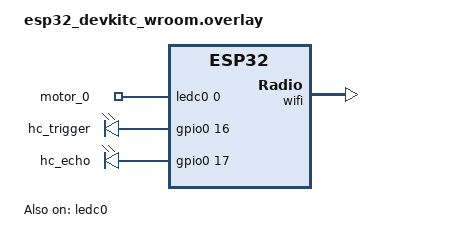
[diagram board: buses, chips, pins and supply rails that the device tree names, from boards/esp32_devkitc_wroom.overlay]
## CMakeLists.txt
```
cmake_minimum_required(VERSION 3.20.0)

find_package(Zephyr REQUIRED HINTS $ENV{ZEPHYR_BASE})
project(Wifi_Radar)

FILE(GLOB app_sources src/*.c) # Make a list of every file in src ending with .c and store it in app_sources
target_sources(app PRIVATE ${app_sources}) # Ask the coomplier to build evryfile in the list app_sources
```

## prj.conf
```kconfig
# System & Memory 
CONFIG_MAIN_STACK_SIZE=4096
CONFIG_HEAP_MEM_POOL_SIZE=51200
CONFIG_ESP_WIFI_HEAP_SYSTEM=y
CONFIG_NEWLIB_LIBC=y
CONFIG_FPU=y
CONFIG_CBPRINTF_FP_SUPPORT=y

# Enable the network configuration library
CONFIG_NET_CONFIG_SETTINGS=y

# Hardware Drivers
CONFIG_GPIO=y
CONFIG_PWM=y
CONFIG_PINCTRL=y
CONFIG_PRINTK=y
CONFIG_ESP32_USE_UNSUPPORTED_REVISION=y

# Networking Base 
# Enables zephyr networking stack
CONFIG_NETWORKING=y
# Enables layer 2 support
CONFIG_NET_L2_ETHERNET=y
# Enables IPv4 protocol suite 
CONFIG_NET_IPV4=y
# TCP Protocol for web server communication
CONFIG_NET_TCP=y
# socket API
CONFIG_NET_SOCKETS=y
# Network stack logging
CONFIG_NET_LOG=y
# Reduces log footprint to save memory on esp32
CONFIG_LOG_MODE_MINIMAL=y

# Max number of network packets allowed in TX queue
CONFIG_NET_PKT_TX_COUNT=10
# Max number of buffers for outgoing packets 
CONFIG_NET_BUF_TX_COUNT=20
# Size of network buffer --> bytes
CONFIG_NET_BUF_DATA_SIZE=128
# Max number of simultaneous network connections 
CONFIG_NET_MAX_CONTEXTS=10   


# WiFi & DHCP
CONFIG_WIFI=y
CONFIG_WIFI_ESP32=y
CONFIG_NET_L2_WIFI_MGMT=y
CONFIG_NET_DHCPV4=y
CONFIG_ESP32_WIFI_STA_AUTO_DHCPV4=y
CONFIG_NET_CONFIG_INIT_TIMEOUT=30
```

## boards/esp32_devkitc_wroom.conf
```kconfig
# Required to get IP address from DHCP
CONFIG_ESP32_WIFI_STA_AUTO_DHCPV4=y

# Use system heap (instead of runtime) for WiFi
CONFIG_ESP_WIFI_HEAP_SYSTEM=y
CONFIG_HEAP_MEM_POOL_SIZE=51200
CONFIG_WIFI_ESP32=y
```

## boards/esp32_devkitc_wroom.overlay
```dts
#include <zephyr/dt-bindings/pwm/pwm.h>

/ {
    aliases{
        hc-trig=&hc_trigger;
        hc-echo=&hc_echo;
        motor-0=&motor_0;
    };

    my-pwm-motors {
        compatible = "pwm-leds"; // Use a standard compatible string
        motor_0: pwm_motor_0 {
            pwms = <&ledc0 0 PWM_MSEC(20) PWM_POLARITY_NORMAL>;
        };
    };

    leds{
        compatible = "gpio-leds";
        hc_trigger: d16 {
            gpios = <&gpio0 16 GPIO_ACTIVE_HIGH>;
        };
        hc_echo: d17{
            gpios = <&gpio0 17 GPIO_ACTIVE_HIGH>;
        };
    };
};

// Handles all the PWM tasks. Most flexible hardware timer on the ESP32; Primary ESP32 PWM peripheral
// LEDC takes care of generating raw eelctrical pulses
&ledc0 {
    pinctrl-0 = <&motorctrl_0>;
	pinctrl-names = "default";
    status = "okay";
};


&pinctrl {
        motorctrl_0: motor-0 {
	        group1 {
		        pinmux = <LEDC_CH0_GPIO13>; // Routes PWM channel 0 to pin 13
			output-enable; // Configures pin 13 as output explicitly
		};
	};
};


&wifi {
	status = "okay";
};
```

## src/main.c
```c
#include <stdio.h>
#include <string.h>
#include <zephyr/kernel.h>
#include <zephyr/net/socket.h>
#include <zephyr/drivers/gpio.h>
#include <zephyr/drivers/pwm.h>
#include <zephyr/sys/time_units.h>

// Custom libraries
#include "wifi.h"

// WiFi settings
#define WIFI_SSID ""      // Enter the wifi username
#define WIFI_PSK ""   // Enter the wifi password

#define MAX_TICKS 10000 // Threshold to move on from waiting for the reply ping of the ultrasonic sensor

static const int32_t wait_time_ms = 10; // Sleep settings 

uint32_t counter=0;     // Counter for the start ping
uint32_t counter2=0;    // Counter for the end ping
uint32_t start_time = 0;    // Timer start time    
uint32_t stop_time = 0;     // Timer stop time
uint32_t duration = 0;      // Total duration from sending the singal to getting it back
uint64_t duration_us = 0;   // Duration in micro seconds
uint32_t pulse_ns = 0;      // Duty Cycle Pulse
uint32_t distance_cm = 0;   // Total distance in cm
int angle = 0;

// Get devicetree configurations 
static const struct pwm_dt_spec servo = PWM_DT_SPEC_GET(DT_ALIAS(motor_0));
static const struct gpio_dt_spec trig = GPIO_DT_SPEC_GET(DT_ALIAS(hc_trig),gpios);
static const struct gpio_dt_spec echo = GPIO_DT_SPEC_GET(DT_ALIAS(hc_echo),gpios);

// Create a function for the clockwise rotation of the servo motor by passing the client socket
int radar_clockwise(int client_sock){

    for(int angle = 0; angle<=180; angle+=5)
        {
            char buf[32];

            // 0.5ms pulse represents the 0 degree position
            // 2.5ms pulse represents the 180 degree position
            // Since the difference is 2ms, divide it by 180 to get the steps per degree
            pulse_ns = 500000 + (angle * 2000000 / 180);

            // Set the pulse in the pwm
            pwm_set_pulse_dt(&servo, pulse_ns);
            k_msleep(50);

            // Fire the trigger pulse
            gpio_pin_set_dt(&trig, 1);
            k_busy_wait(10);
            gpio_pin_set_dt(&trig, 0);

            // Check for the echo pin to go high
            counter = 0;
            while(gpio_pin_get_dt(&echo) == 0){
                counter++;
                if(counter>MAX_TICKS) // Condition to break the detection
                    break;
            }
            start_time = k_cycle_get_32();  // Record the cycle time in ticks once the echo goes high

            // Check for the echo pin to go low
            counter2 = 0;
            while(gpio_pin_get_dt(&echo) == 1){
                counter2++;
                if(counter2>MAX_TICKS)
                    break;
            }
            stop_time = k_cycle_get_32();   // Record the cycle time in ticks once the echo goes low
            
            // If the counter does not max out calculate the distance
            if(counter < MAX_TICKS && counter2 < MAX_TICKS)
            {
                duration = stop_time - start_time;  // Gives the duration of the ticks from the time of pulse transmission and reception
                duration_us = (uint64_t)duration * 1000000 / CONFIG_SYS_CLOCK_HW_CYCLES_PER_SEC;    // Converting ticks to microseconds -> ticks *1000000 / clock frequency
                // Sound travels at 343 m/s and in microseconds 0.0343 cm/us so 34/(2*1000) where 2 is because the distance of the object is just half of the total to and fro distance travelled
                distance_cm = (duration_us * 34) / 2000;
                printk("Angle: %d, Distance: %u cm\n", angle, distance_cm);
                snprintf(buf, sizeof(buf), "<script>d(%d,%u);</script>\n", angle, distance_cm); // Add the sensor readings to the buffer
                int ret = zsock_send(client_sock, buf, strlen(buf), 0); // Send it to the client socket
                if (ret < 0) {
                    printk("Client disconnected during sweep.\n");
                    return -1; // Critical: breaks the infinite loop in main
                }
            }
            else
                printk("No object detected");
        }
        k_msleep(wait_time_ms);
        return 0; 
}

// Create a function for the clockwise rotation of the servo motor by passing the client socket
int radar_aclockwise(int client_sock){

    for(int angle = 180; angle>=0; angle-=5)

        {
            char buf[32];
            pulse_ns = 500000 + (angle * 2000000 / 180);

            pwm_set_pulse_dt(&servo, pulse_ns);
            k_msleep(50);
            
            gpio_pin_set_dt(&trig, 1);
            k_busy_wait(10);
            gpio_pin_set_dt(&trig, 0);

            counter = 0;
            while(gpio_pin_get_dt(&echo) == 0){
                counter++;
                if(counter>MAX_TICKS)
                    break;
            }
            start_time = k_cycle_get_32();  

            counter2 = 0;
            while(gpio_pin_get_dt(&echo) == 1){
                counter2++;
                if(counter2>MAX_TICKS)
                    break;
            }
            stop_time = k_cycle_get_32();
            
            if(counter < MAX_TICKS && counter2 < MAX_TICKS)
            {
                duration = stop_time - start_time;
                duration_us = (uint64_t)duration * 1000000 / CONFIG_SYS_CLOCK_HW_CYCLES_PER_SEC;
                distance_cm = (duration_us * 34) / 2000;
                printk("Angle: %d, Distance: %u cm\n", angle, distance_cm);
                snprintf(buf, sizeof(buf), "<script>d(%d,%u);</script>\n", angle, distance_cm);
                int ret = zsock_send(client_sock, buf, strlen(buf), 0);
                if (ret < 0) {
                    printk("Client disconnected during sweep.\n");
                    return -1; // Critical: breaks the infinite loop in main
                }
            }
            else
                printk("No object detected");
        }         
        k_msleep(wait_time_ms);    
        return 0;
}



int main(void)
{
    struct sockaddr_in serv_addr;  // Defines the IPv4 internet address structure for the server to listen on
    
    struct sockaddr_in client_addr; // Used to store the IPv4 address information for a network connection, here the device visiting the website

    socklen_t client_addr_len = sizeof(client_addr);

    int sock;
    int ret;

    char *header = "HTTP/1.1 200 OK\r\nContent-Type: text/html\r\nConnection: close\r\n\r\n";
    
    // Check if the trigger is ready
    if(!gpio_is_ready_dt(&trig))
        return 0;
    // Check if the echo is ready
    if(!gpio_is_ready_dt(&echo))
        return 0;
    // Check if the servo is ready
    if(!pwm_is_ready_dt(&servo))
        return 0;

    // Configure the trigger to output
    ret = gpio_pin_configure_dt(&trig, GPIO_OUTPUT);
    if(ret<0)
        return 0;

    // Configure the echo to output
    ret = gpio_pin_configure_dt(&echo, GPIO_INPUT);
    if(ret<0)
        return 0;    

    // Initialize WiFi
    wifi_init();

    // Connect to the WiFi network (blocking)
    ret = wifi_connect(WIFI_SSID, WIFI_PSK);
    if (ret < 0) {
        printk("Error (%d): WiFi connection failed\r\n", ret);
        return 0;
    }

    // Wait to receive an IP address (blocking)
    wifi_wait_for_ip_addr();
    
    
    // server definition
    memset(&serv_addr, 0, sizeof(serv_addr));   // Clear memory to prevent garbage values
    serv_addr.sin_family = AF_INET;              // IPv4
    serv_addr.sin_port = htons(80);        // htons -> converts the port number from host byte order to network byte order little endian to big endian---> asks to listen in port 80
    serv_addr.sin_addr.s_addr = INADDR_ANY;    // Accept connection on any local network interface

    // Create a new socket
    sock = zsock_socket(AF_INET, SOCK_STREAM, 0);
    if (sock < 0) {
        printk("Error (%d): Could not create socket\r\n", errno);
        return 0;
    }

    // Attaches the server socket to the specified address
    ret = zsock_bind(sock, (struct sockaddr *)&serv_addr, sizeof(serv_addr));
    if(ret < 0){
        printk("Error (%d): Could not bind the socket\r\n", errno);
        return 0;
    }

    ret = zsock_listen(sock, 1);    // Puts the socket in listening mode with a queue size of 1. waits for the incoming message
    if (ret < 0) {
        printk("Error (%d): Could not listen to the socket\r\n", errno);
        return 0;
    }
    
    // Set the trigger to 0 initially
    gpio_pin_set_dt(&trig, 0);

    while (1) {

        // Writes the phone/device IP to the struct client_sock and creates client ids. each client id is tied to a client addr
        int client_sock = zsock_accept(sock, (struct sockaddr *) &client_addr, &client_addr_len);
        if (client_sock < 0) {
            continue;
        }
        
        char rx_buf[512]; 
        zsock_recv(client_sock, rx_buf, sizeof(rx_buf), 0); // Consume the browser's GET request
        printk("Browser connected! Sending radar...\n");
        // Sends the header to the specified id and address. multiple if there exists multiple IPs
        ret = zsock_send(client_sock, header, strlen(header), 0);
        if (ret < 0) {
            printk("Error (%d): Could not send request\r\n", errno);
            continue;
        }
        
        // HTML code for a green radar space simulation
        char *html_top = "<html><head><meta name='viewport' content='width=device-width,initial-scale=1'>"
                 "<style>body{background:#000;color:#0f0;margin:0;display:flex;flex-direction:column;justify-content:center;align-items:center;height:100vh;overflow:hidden;font-family:monospace}"
                 "h1{margin:0;letter-spacing:2px;font-size:1.5rem}#dist{font-size:3rem;margin:10px 0;text-shadow:0 0 10px #0f0}</style></head>"
                 "<body>"
                 "<h1>ESP32 ULTRASONIC SENSOR</h1>"
                 "<div id='dist'>0 CM</div>"
                 "<canvas id='c'></canvas>"
                 "<script>"
                 "const v=document.getElementById('c'),x=v.getContext('2d'),out=document.getElementById('dist');"
                 "v.width=600;v.height=400;x.translate(300,380);" // Adjusted height for text space
                 "function d(a,r){"
                 "out.innerText=r+' CM';" // Update the text readout
                 "x.fillStyle='rgba(0,10,0,0.02)';x.fillRect(-300,-380,600,400);" // Fade effect
                 "x.strokeStyle='#030';x.beginPath();x.arc(0,0,100,Math.PI,0);x.arc(0,0,200,Math.PI,0);x.arc(0,0,300,Math.PI,0);x.stroke();" // Rings
                 "const rad=(a-180)*Math.PI/180,px=Math.cos(rad)*r*10,py=Math.sin(rad)*r*10;" // Scaled r*10 for 400px height
                 "x.strokeStyle='#0f0';x.lineWidth=2;x.beginPath();x.moveTo(0,0);x.lineTo(px,py);x.stroke();"
                 "x.fillStyle='#fff';x.fillRect(px-2,py-2,4,4);}</script>";
        zsock_send(client_sock, html_top, strlen(html_top), 0);
        
        while (1) {
        if (radar_clockwise(client_sock) < 0) break;
        if (radar_aclockwise(client_sock) < 0) break;
    }
        char *html_bottom = "</body></html>";
        zsock_send(client_sock, html_bottom, strlen(html_bottom), 0);
        zsock_close(client_sock);       // Clsoe the socket
        
    }
}
```

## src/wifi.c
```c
#include <string.h>
#include <zephyr/kernel.h>
#include <zephyr/net/wifi_mgmt.h>

// Event callbacks
static struct net_mgmt_event_callback wifi_cb;
static struct net_mgmt_event_callback ipv4_cb;

// Semaphores
static K_SEM_DEFINE(sem_wifi, 0, 1);
static K_SEM_DEFINE(sem_ipv4, 0, 1);

// Called when the WiFi is connected
static void on_wifi_connection_event(struct net_mgmt_event_callback *cb,
                                     uint32_t mgmt_event,
                                     struct net_if *iface)
{
     const struct wifi_status *status = (const struct wifi_status *)cb->info;

    if (mgmt_event == NET_EVENT_WIFI_CONNECT_RESULT) {
        if (status->status) {
            printk("Error (%d): Connection request failed\r\n", status->status);
        } else {
            printk("Connected!\r\n");
            k_sem_give(&sem_wifi);
        }
    } else if (mgmt_event == NET_EVENT_WIFI_DISCONNECT_RESULT) {
        if (status->status) {
            printk("Error (%d): Disconnection request failed\r\n", status->status);
        } else {
            printk("Disconnected\r\n");
            k_sem_take(&sem_wifi, K_NO_WAIT);
        }
    }
}

// Event handler for WiFi management events
static void on_ipv4_obtained(struct net_mgmt_event_callback *cb,
                             uint32_t mgmt_event,
                             struct net_if *iface)
{
    // Signal that the IP address has been obtained
    if (mgmt_event == NET_EVENT_IPV4_ADDR_ADD) {
        k_sem_give(&sem_ipv4);
    }
}

// Initialize the WiFi event callbacks
void wifi_init(void)
{
    // Initialize the event callbacks
    net_mgmt_init_event_callback(&wifi_cb,
                                 on_wifi_connection_event,
                                 NET_EVENT_WIFI_CONNECT_RESULT | NET_EVENT_WIFI_DISCONNECT_RESULT);
    net_mgmt_init_event_callback(&ipv4_cb,
                                 on_ipv4_obtained,
                                 NET_EVENT_IPV4_ADDR_ADD);
    
    // Add the event callbacks
    net_mgmt_add_event_callback(&wifi_cb);
    net_mgmt_add_event_callback(&ipv4_cb);
}

// Connect to the WiFi network (blocking)
int wifi_connect(char *ssid, char *psk)
{
    int ret;
    struct net_if *iface;
    struct wifi_connect_req_params params;

    // Get the default networking interface
    iface = net_if_get_default();

    // Fill in the connection request parameters
    params.ssid = (const uint8_t *)ssid;
    params.ssid_length = strlen(ssid);
    params.psk = (const uint8_t *)psk;
    params.psk_length = strlen(psk);
    params.security = WIFI_SECURITY_TYPE_PSK;
    params.band = WIFI_FREQ_BAND_UNKNOWN;
    params.channel = WIFI_CHANNEL_ANY;
    params.mfp = WIFI_MFP_OPTIONAL;

    // Connect to the WiFi network
    ret = net_mgmt(NET_REQUEST_WIFI_CONNECT,
                   iface,
                   &params,
                   sizeof(params));

    // Wait for the connection to complete
    k_sem_take(&sem_wifi, K_FOREVER);

    return ret;
}

// Wait for IP address (blocking)
void wifi_wait_for_ip_addr(void)
{
    struct wifi_iface_status status;
    struct net_if *iface;
    char ip_addr[NET_IPV4_ADDR_LEN];
    char gw_addr[NET_IPV4_ADDR_LEN];

    // Get interface
    iface = net_if_get_default();

    // Wait for the IPv4 address to be obtained
    k_sem_take(&sem_ipv4, K_FOREVER);

    // Get the WiFi status
    if (net_mgmt(NET_REQUEST_WIFI_IFACE_STATUS,
                 iface,
                 &status,
                 sizeof(struct wifi_iface_status))) {
        printk("Error: WiFi status request failed\r\n");
    }

    // Get the IP address
    memset(ip_addr, 0, sizeof(ip_addr));
    if (net_addr_ntop(AF_INET,
                      &iface->config.ip.ipv4->unicast[0].ipv4.address.in_addr,
                      ip_addr,
                      sizeof(ip_addr)) == NULL) {
        printk("Error: Could not convert IP address to string\r\n");
    }

    // Get the gateway address
    memset(gw_addr, 0, sizeof(gw_addr));
    if (net_addr_ntop(AF_INET,
                      &iface->config.ip.ipv4->gw,
                      gw_addr,
                      sizeof(gw_addr)) == NULL) {
        printk("Error: Could not convert gateway address to string\r\n");
    }
    // Print the WiFi status
    printk("WiFi status:\r\n");
    if (status.state >= WIFI_STATE_ASSOCIATED) {
        printk("  SSID: %-32s\r\n", status.ssid);
        printk("  Band: %s\r\n", wifi_band_txt(status.band));
        printk("  Channel: %d\r\n", status.channel);
        printk("  Security: %s\r\n", wifi_security_txt(status.security));
        printk("  IP address: %s\r\n", ip_addr);
        printk("  Gateway: %s\r\n", gw_addr);
    }
}

// Disconnect from the WiFi network
int wifi_disconnect(void)
{
    int ret;
    struct net_if *iface = net_if_get_default();

    ret = net_mgmt(NET_REQUEST_WIFI_DISCONNECT, iface, NULL, 0);

    return ret;
}
```
